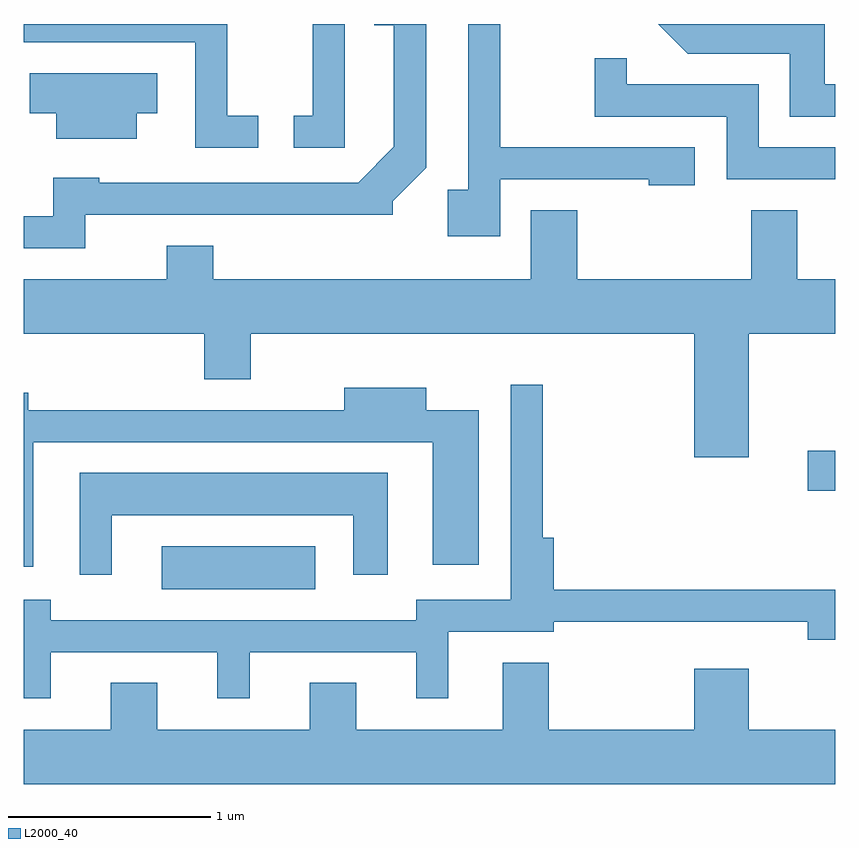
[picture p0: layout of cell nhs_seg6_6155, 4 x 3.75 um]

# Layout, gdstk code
import gdstk
lib = gdstk.Library(unit=1e-6, precision=1e-09)
def R(c, l, rs):  # rectangles x0, y0, x1, y1
    for r in rs: c.add(gdstk.rectangle(r[:2], r[2:], *l))
def P(c, l, *ps):  # polygons
    for p in ps: c.add(gdstk.Polygon(p, *l))
L2000_40 = (2000, 40)

nhs_seg6_6155 = lib.new_cell('nhs_seg6_6155')
R(nhs_seg6_6155, L2000_40, [(372.291,1615.376,373.049,1615.589), (375.476,1615.861,375.611,1616.059)])
P(nhs_seg6_6155, L2000_40, [(371.914,1617.221),(373.429,1617.221),(373.429,1617.289),(373.594,1617.454),(373.594,1618.162),(373.338,1618.162),(373.338,1618.156),(373.436,1618.156),(373.436,1617.557),(373.259,1617.379),(371.984,1617.379),(371.984,1617.404),(371.756,1617.404),(371.756,1617.214),(371.611,1617.214),(371.611,1617.056),(371.914,1617.056)],
  [(373.959,1617.396),(374.691,1617.396),(374.691,1617.366),(374.919,1617.366),(374.919,1617.554),(373.959,1617.554),(373.959,1618.162),(373.801,1618.162),(373.801,1617.344),(373.701,1617.344),(373.701,1617.116),(373.959,1617.116)],
  [(375.611,1617.864),(375.559,1617.864),(375.559,1618.162),(374.738,1618.162),(374.884,1618.016),(375.386,1618.016),(375.386,1617.706),(375.611,1617.706)],
  [(373.194,1618.162),(373.036,1618.162),(373.036,1617.709),(372.943,1617.709),(372.943,1617.551),(373.194,1617.551)],
  [(372.768,1617.709),(372.614,1617.709),(372.614,1618.162),(371.611,1618.162),(371.611,1618.071),(372.456,1618.071),(372.456,1617.551),(372.768,1617.551)],
  [(375.611,1617.554),(375.234,1617.554),(375.234,1617.864),(374.584,1617.864),(374.584,1617.993),(374.426,1617.993),(374.426,1617.706),(375.076,1617.706),(375.076,1617.396),(375.611,1617.396)],
  [(372.169,1617.721),(372.269,1617.721),(372.269,1617.919),(371.641,1617.919),(371.641,1617.721),(371.771,1617.721),(371.771,1617.596),(372.169,1617.596)],
  [(375.184,1616.636),(375.611,1616.636),(375.611,1616.904),(375.424,1616.904),(375.424,1617.244),(375.196,1617.244),(375.196,1616.904),(374.339,1616.904),(374.339,1617.244),(374.111,1617.244),(374.111,1616.904),(372.544,1616.904),(372.544,1617.069),(372.316,1617.069),(372.316,1616.904),(371.611,1616.904),(371.611,1616.636),(372.501,1616.636),(372.501,1616.411),(372.729,1616.411),(372.729,1616.636),(374.916,1616.636),(374.916,1616.026),(375.184,1616.026)],
  [(371.744,1615.066),(372.566,1615.066),(372.566,1614.838),(372.724,1614.838),(372.724,1615.066),(373.546,1615.066),(373.546,1614.838),(373.704,1614.838),(373.704,1615.166),(374.224,1615.166),(374.224,1615.216),(375.476,1615.216),(375.476,1615.126),(375.611,1615.126),(375.611,1615.374),(374.224,1615.374),(374.224,1615.629),(374.169,1615.629),(374.169,1616.383),(374.011,1616.383),(374.011,1615.324),(373.546,1615.324),(373.546,1615.224),(371.744,1615.224),(371.744,1615.324),(371.611,1615.324),(371.611,1614.838),(371.744,1614.838)],
  [(371.659,1616.101),(373.626,1616.101),(373.626,1615.496),(373.854,1615.496),(373.854,1616.259),(373.594,1616.259),(373.594,1616.369),(373.191,1616.369),(373.191,1616.259),(371.634,1616.259),(371.634,1616.344),(371.611,1616.344),(371.611,1615.486),(371.659,1615.486)],
  [(372.044,1615.741),(373.236,1615.741),(373.236,1615.448),(373.404,1615.448),(373.404,1615.949),(371.886,1615.949),(371.886,1615.448),(372.044,1615.448)],
  [(373.021,1614.914),(373.021,1614.684),(372.269,1614.684),(372.269,1614.914),(372.041,1614.914),(372.041,1614.684),(371.611,1614.684),(371.611,1614.416),(375.611,1614.416),(375.611,1614.684),(375.184,1614.684),(375.184,1614.984),(374.916,1614.984),(374.916,1614.684),(374.199,1614.684),(374.199,1615.014),(373.971,1615.014),(373.971,1614.684),(373.249,1614.684),(373.249,1614.914)])

lib.write_gds('nhs_seg6_6155.gds')
